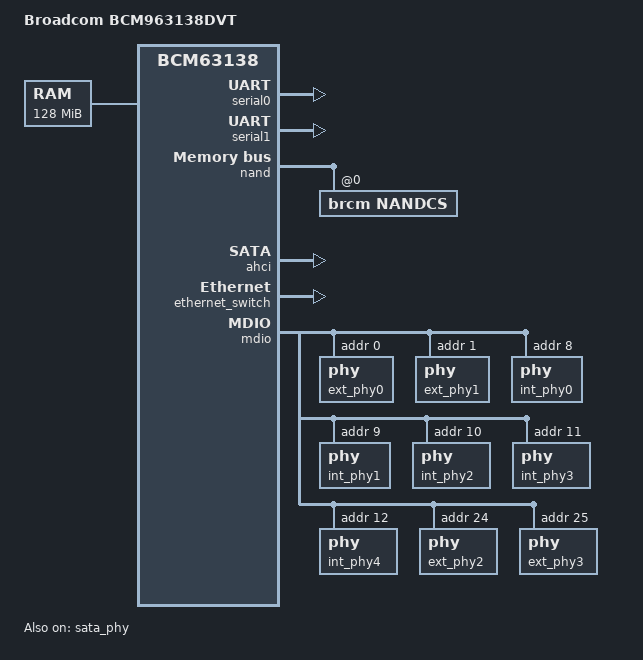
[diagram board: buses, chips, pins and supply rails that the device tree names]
// SPDX-License-Identifier: GPL-2.0
/*
 * Broadcom BCM63138 Reference Board DTS
 */

/dts-v1/;

#include "bcm63138.dtsi"

/ {
	compatible = "brcm,BCM963138DVT", "brcm,bcm63138";
	model = "Broadcom BCM963138DVT";

	chosen {
		bootargs = "console=ttyS0,115200";
		stdout-path = &serial0;
	};

	memory {
		reg = <0x0 0x08000000>;
	};

};

&serial0 {
	status = "okay";
};

&serial1 {
	status = "okay";
};

&nand {
	status = "okay";

	nandcs@0 {
		compatible = "brcm,nandcs";
		reg = <0>;
		nand-ecc-strength = <4>;
		nand-ecc-step-size = <512>;
		brcm,nand-oob-sectors-size = <16>;
	};
};

&ahci {
	status = "okay";
};

&sata_phy {
	status = "okay";
};

&ethernet_switch {
	status = "okay";

	ports {
		port0: port@0 {
			phy-handle = <&int_phy0>;
			phy-mode = "internal";
			reg = <0>;
		};

		port1: port@1 {
			phy_handle = <&int_phy1>;
			phy-mode = "internal";
			reg = <1>;
		};

		port2: port@2 {
			phy-handle = <&int_phy2>;
			phy-mode = "internal";
			reg = <2>;
		};

		port3: port@3 {
			phy-handle = <&int_phy3>;
			phy-mode = "internal";
			reg = <3>;
		};

		port4: port@4 {
			phy-handle = <&int_phy4>;
			phy-mode = "internal";
			reg = <4>;
		};

		port8: port@8 {
			ethernet = <&port8>;
			label = "cpu";
			reg = <8>;

			fixed-link {
				speed = <1000>;
				full-duplex;
			};
		};
	};
};

&mdio {
	status = "okay";

	ext_phy0: phy@0 {
		reg = <0>;
	};

	ext_phy1: phy@1 {
		reg = <1>;
	};

	int_phy0: phy@8 {
		reg = <8>;
	};

	int_phy1: phy@9 {
		reg = <9>;
	};

	int_phy2: phy@a {
		reg = <10>;
	};

	int_phy3: phy@b {
		reg = <11>;
	};

	int_phy4: phy@c {
		reg = <12>;
	};

	ext_phy2: phy@18 {
		reg = <24>;
	};

	ext_phy3: phy@19 {
		reg = <25>;
	};

};
